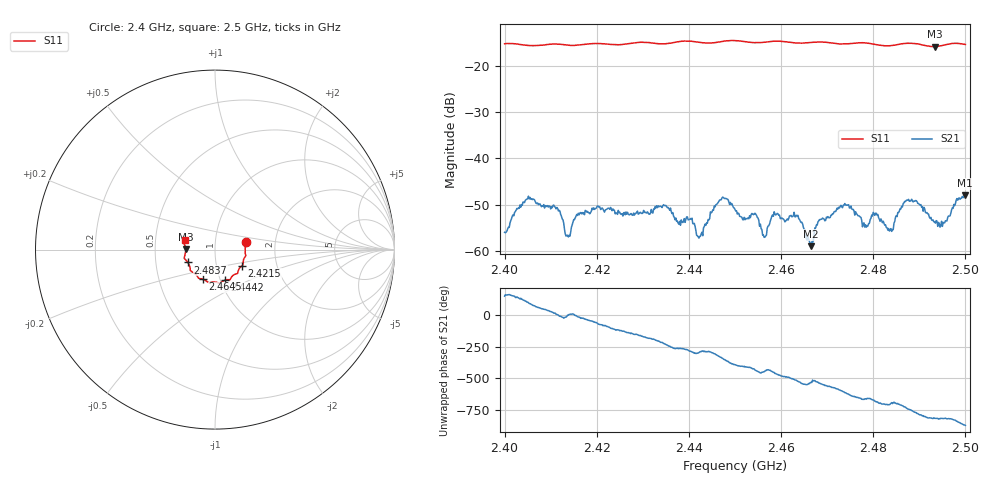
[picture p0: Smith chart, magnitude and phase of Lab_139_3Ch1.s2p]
# Hz S RI R 50
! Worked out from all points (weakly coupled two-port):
!   601 points, 2.4 GHz to 2.5 GHz, reference 50 ohm
!   highest |S21| = -48.04 dB at 2.4998 GHz (marker M1); lowest = -59.0 dB at 2.4665 GHz (marker M2)
!   lowest |S11| = -15.7 dB at 2.4933 GHz (marker M3), VSWR 1.39, Z = 35.9 + j0.104 ohm
!   |S11| at or under -10 dB: start of sweep to end of sweep
!   S12 and S22 are empty: the file has one direction only
!   S11 on the Smith chart (normalised r, x): 2.4 GHz: 1.41, +0.12; 2.4215 GHz: 1.33, -0.25; 2.4442 GHz: 1.05, -0.37; 2.4645 GHz: 0.83, -0.29; 2.4837 GHz: 0.73, -0.11; 2.5 GHz: 0.71, +0.07
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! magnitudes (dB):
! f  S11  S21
! 2.4 GHz  -15.1  -56.0
! 2.405 GHz  -15.5  -48.7
! 2.411 GHz  -15.2  -50.6
! 2.4137 GHz  -15.4  -56.7
! 2.4167 GHz  -15.3  -52.0
! 2.4215 GHz  -15.1  -51.3
! 2.4333 GHz  -15.1  -50.3
! 2.4422 GHz  -14.8  -57.3
! 2.4442 GHz  -15.0  -53.2
! 2.45 GHz  -14.4  -51.1
! 2.4563 GHz  -14.8  -57.1
! 2.4587 GHz  -14.5  -52.0
! 2.4645 GHz  -15.0  -53.8
! 2.4665 GHz  -14.8  -59.0
! 2.4667 GHz  -14.8  -58.1
! 2.474 GHz  -15.1  -50.1
! 2.4833 GHz  -15.6  -55.2
! 2.4837 GHz  -15.5  -55.6
! 2.4873 GHz  -15.0  -49.0
! 2.4933 GHz  -15.7  -53.8
! 2.4998 GHz  -15.2  -48.0
! 2.5 GHz  -15.3  -48.2
